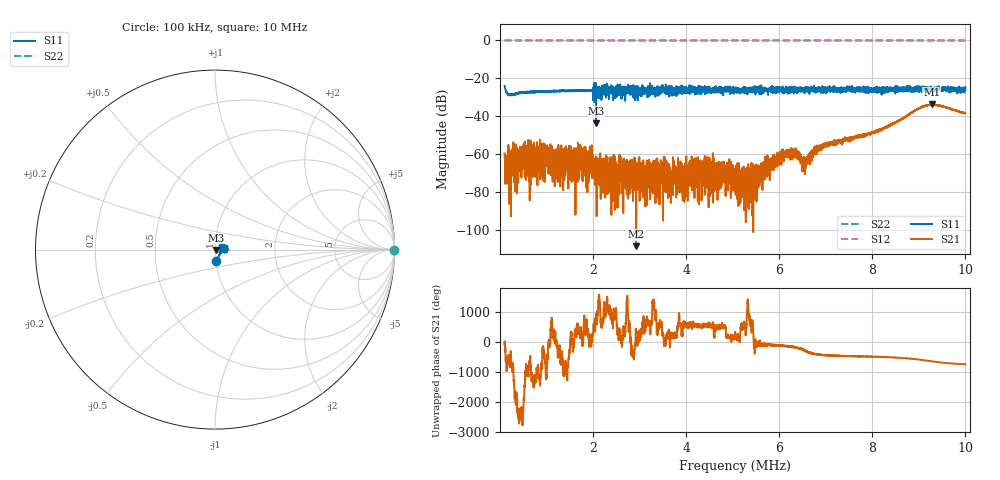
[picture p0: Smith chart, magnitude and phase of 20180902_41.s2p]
! Anritsu VNA Master:  Model: MS2026C/19
! SN:  1815009
! /card0/usr/20180902_41.s2p
! Existing Calibration Information:
! TYPE:  Current Settings,  Active Cal Settings
! TIME:  09/03/2018 12:00:23 AM,  09/02/2018 11:58:48 AM
! INTERNAL TEMP:  46.0 C,  48.8 C
! # POINTS:  4001,  4001
! START FREQ:  100.000 kHz,  100.000 kHz
! STOP FREQ:  10.000 MHz,  10.000 MHz
! SOURCE POWER:  Low,  Low
! IFBW:  500 Hz,  500 Hz
! AVG FACTOR:  1 ,  1
! REF PLANE 1:  0 mm,  0 mm
! REF PLANE 2:  0 mm,  0 mm
! CAL TYPE:  1P2P S11,S21,  1P2P S11,S21
! CAL METHOD:  SOLT,  SOLT
! CAL LINE TYPE:  Coax,  Coax
! DUT PORT 1:  N-Conn(M),  N-Conn(M)
! DUT PORT 2:  N-Conn(M),  N-Conn(M)
! CAL STATUS:  OK: Accuracy High,  --
# GHZ S RI R 50.0
! FREQ.GHZ  S11RE  S11IM  S21RE  S21IM  S12RE  S12IM  S22RE  S22IM
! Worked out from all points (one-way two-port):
!   4001 points, 100 kHz to 10 MHz, reference 50 ohm
!   highest |S21| = -33.84 dB at 9.277 MHz (marker M1); lowest = -108.8 dB at 2.926 MHz (marker M2)
!   lowest |S11| = -43.8 dB at 2.065 MHz (marker M3), VSWR 1.01, Z = 50.6 - j0.228 ohm
!   |S11| at or under -10 dB: start of sweep to end of sweep
!   |S22| runs from 0.0 to 0.0 dB; largest |S21 - S12| = 1
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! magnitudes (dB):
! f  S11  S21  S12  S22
! 100 kHz  -24.1  -59.7  0.0  0.0
! 161.9 kHz  -28.0  -70.1  0.0  0.0
! 468.8 kHz  -27.4  -59.7  0.0  0.0
! 1.313 MHz  -26.7  -57.2  0.0  0.0
! 1.414 MHz  -26.7  -63.1  0.0  0.0
! 1.751 MHz  -26.3  -68.5  0.0  0.0
! 1.956 MHz  -26.5  -66.7  0.0  0.0
! 2.065 MHz  -43.8  -69.7  0.0  0.0
! 2.926 MHz  -28.2  -108.8  0.0  0.0
! 3.402 MHz  -28.4  -72.7  0.0  0.0
! 3.939 MHz  -26.8  -74.5  0.0  0.0
! 4.181 MHz  -26.0  -67.6  0.0  0.0
! 5.05 MHz  -25.2  -71.0  0.0  0.0
! 5.463 MHz  -27.3  -71.9  0.0  0.0
! 5.728 MHz  -26.9  -63.6  0.0  0.0
! 6.154 MHz  -24.6  -58.4  0.0  0.0
! 6.359 MHz  -26.1  -60.3  0.0  0.0
! 6.535 MHz  -26.0  -64.4  0.0  0.0
! 6.701 MHz  -25.9  -63.7  0.0  0.0
! 8.352 MHz  -25.7  -45.2  0.0  0.0
! 9.277 MHz  -26.8  -33.8  0.0  0.0
! 10 MHz  -26.4  -38.6  0.0  0.0
